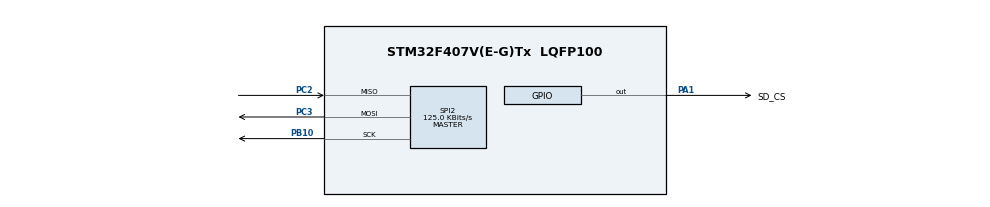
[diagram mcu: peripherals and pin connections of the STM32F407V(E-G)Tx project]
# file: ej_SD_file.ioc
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Mcu.Family=STM32F4
Mcu.Name=STM32F407V(E-G)Tx
Mcu.Package=LQFP100
NVIC.PriorityGroup=NVIC_PRIORITYGROUP_4
PA1.GPIO_Label=SD_CS
PA1.Signal=GPIO_Output
PB10.Mode=Full_Duplex_Master
PB10.Signal=SPI2_SCK
PC2.Mode=Full_Duplex_Master
PC2.Signal=SPI2_MISO
PC3.Mode=Full_Duplex_Master
PC3.Signal=SPI2_MOSI
ProjectManager.HeapSize=0x200
ProjectManager.StackSize=0x400
ProjectManager.TargetToolchain=SW4STM32
RCC.AHBFreq_Value=16000000
RCC.APB1Freq_Value=16000000
RCC.APB2Freq_Value=16000000
RCC.CortexFreq_Value=16000000
RCC.HSE_VALUE=25000000
RCC.HSI_VALUE=16000000
RCC.LSE_VALUE=32768
RCC.SYSCLKFreq_VALUE=16000000
RCC.VCOOutputFreq_Value=192000000
SPI2.BaudRatePrescaler=SPI_BAUDRATEPRESCALER_128
SPI2.CalculateBaudRate=125.0 KBits/s
SPI2.Direction=SPI_DIRECTION_2LINES
SPI2.Mode=SPI_MODE_MASTER
SPI2.VirtualType=VM_MASTER
VP_FATFS_VS_Generic.Mode=User_defined
board=custom

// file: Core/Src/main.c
/* USER CODE BEGIN Header */
/**
  ******************************************************************************
  * @file           : main.c
  * @brief          : Main program body
  ******************************************************************************
  * @attention
  *
  * <h2><center>&copy; Copyright (c) 2021 STMicroelectronics.
  * All rights reserved.</center></h2>
  *
  * This software component is licensed by ST under Ultimate Liberty license
  * SLA0044, the "License"; You may not use this file except in compliance with
  * the License. You may obtain a copy of the License at:
  *                             www.st.com/SLA0044
  *
  ******************************************************************************
  */
/* USER CODE END Header */
#include "main.h"
#include "fatfs.h"

SPI_HandleTypeDef hspi2;
//I2S_HandleTypeDef hi2s3;
/* USER CODE BEGIN PV */
struct header
{
    char fileformat[4];
    int file_size;
    char subformat[4];
    char subformat_id[4];
    int chunk_bits;     					// 16or18or40 due to pcm it is 16 here
    short int audio_format;    					// little or big endian
    short int num_channels;     				// 2 here for left and right
    int sample_rate;						// sample_rate denotes the sampling rate.
    int byte_rate;           					// bytes  per second
    short int bytes_per_frame;
    short int bits_per_sample;
    char data_id[4];    					// "data" written in ascii
    int data_size;
}head;

/* USER CODE END PV */

void SystemClock_Config(void);
static void MX_GPIO_Init(void);
static void MX_SPI2_Init(void);

int main(void)
{

  /* MCU Configuration--------------------------------------------------------*/

  /* Reset of all peripherals, Initializes the Flash interface and the Systick. */
  HAL_Init();

  /* Configure the system clock */
  SystemClock_Config();

  /* Initialize all configured peripherals */
  MX_GPIO_Init();
  MX_SPI2_Init();
  MX_FATFS_Init();
  /* USER CODE BEGIN 2 */
  UINT a,i=0,j=0,k=0;
 int16_t data;
 char read[4];
  /* USER CODE END 2 */

  /* Infinite loop */
  /* USER CODE BEGIN WHILE */
 // myprintf("\r\n~ SD card demo by kiwih ~\r\n\r\n");

    HAL_Delay(1000); //a short delay is important to let the SD card settle

    //some variables for FatFs
    FATFS FatFs; 	//Fatfs handle
    FIL fil; 		//File handle
    FRESULT fres; //Result after operations

    //Open the file system
    fres = f_mount(&FatFs, "", 1); //1=mount now
    if (fres != FR_OK) {
  //	myprintf("f_mount error (%i)\r\n", fres);
  	while(1);
    }

    //Let's get some statistics from the SD card
    DWORD free_clusters, free_sectors, total_sectors;

    FATFS* getFreeFs;

    fres = f_getfree("", &free_clusters, &getFreeFs);
    if (fres != FR_OK) {
  	//myprintf("f_getfree error (%i)\r\n", fres);
  	while(1);
    }

    //Formula comes from ChaN's documentation
    total_sectors = (getFreeFs->n_fatent - 2) * getFreeFs->csize;
    free_sectors = free_clusters * getFreeFs->csize;

    //myprintf("SD card stats:\r\n%10lu KiB total drive space.\r\n%10lu KiB available.\r\n", total_sectors / 2, free_sectors / 2);

    //Now let's try to open file "test.txt"
    fres = f_open(&fil, "abre.wav", FA_READ);
    if (fres != FR_OK) {
  	//myprintf("f_open error (%i)\r\n");
  	while(1);
    }
    f_read(&fil,&head,sizeof head,&a);
    	if (fres != FR_OK) {return 1;}
    	if(head.data_id[0]!='d') {return 1;}
    	while(read[0]!='d'){
    		f_read(&fil,read,sizeof read,&a);
    	}
    	while(i < head.file_size){
    		//if(i!=j){
    			f_read(&fil,&data,sizeof data,&a);
    			//TIM_SetCompare2(TIM2,data/66);
    			i++;
    			//Toggle_Gpio(GPIOC,15);

    	}
    //myprintf("I was able to open 'test.txt' for reading!\r\n");

    //Read 30 bytes from "test.txt" on the SD card
    //BYTE readBuf[30];

    //We can either use f_read OR f_gets to get data out of files
    //f_gets is a wrapper on f_read that does some string formatting for us
    //TCHAR* rres = f_gets((TCHAR*)readBuf, 30, &fil);
    /*if(rres != 0) {
  	//myprintf("Read string from 'test.txt' contents: %s\r\n", readBuf);
    } else {
  	//myprintf("f_gets error (%i)\r\n", fres);
    }*/

    //Be a tidy kiwi - don't forget to close your file!
    f_close(&fil);
/*
    //Now let's try and write a file "write.txt"
    fres = f_open(&fil, "write.txt", FA_WRITE | FA_OPEN_ALWAYS | FA_CREATE_ALWAYS);
    if(fres == FR_OK) {
  	//myprintf("I was able to open 'write.txt' for writing\r\n");
    } else {
  	//myprintf("f_open error (%i)\r\n", fres);
    }

    //Copy in a string
    strncpy((char*)readBuf, "a new file is made!", 19);
    UINT bytesWrote;
    fres = f_write(&fil, readBuf, 19, &bytesWrote);
    if(fres == FR_OK) {
  	//myprintf("Wrote %i bytes to 'write.txt'!\r\n", bytesWrote);
    } else {
  	//myprintf("f_write error (%i)\r\n");
    }

    //Be a tidy kiwi - don't forget to close your file!
    f_close(&fil);*/

    //We're done, so de-mount the drive
    f_mount(NULL, "", 0);

    /* USER CODE END 2 */

    /* Infinite loop */
    /* USER CODE BEGIN WHILE */
    while (1)
    {
      /* USER CODE END WHILE */

      /* USER CODE BEGIN 3 */
        //Blink the LED every second
  	  //HAL_GPIO_TogglePin(LD2_GPIO_Port, LD2_Pin);
  	  //HAL_Delay(1000);
    }
  /* USER CODE END 3 */
}

void SystemClock_Config(void)
{
	/*
  RCC_OscInitTypeDef RCC_OscInitStruct = {0};
  RCC_ClkInitTypeDef RCC_ClkInitStruct = {0};
*/
  /** Configure the main internal regulator output voltage
  */
  //__HAL_RCC_PWR_CLK_ENABLE();
  //__HAL_PWR_VOLTAGESCALING_CONFIG(PWR_REGULATOR_VOLTAGE_SCALE1);
  /** Initializes the RCC Oscillators according to the specified parameters
  * in the RCC_OscInitTypeDef structure.
  */
  /*
  RCC_OscInitStruct.OscillatorType = RCC_OSCILLATORTYPE_HSI;
  RCC_OscInitStruct.HSIState = RCC_HSI_ON;
  RCC_OscInitStruct.HSICalibrationValue = RCC_HSICALIBRATION_DEFAULT;
  RCC_OscInitStruct.PLL.PLLState = RCC_PLL_NONE;
  if (HAL_RCC_OscConfig(&RCC_OscInitStruct) != HAL_OK)
  {
    Error_Handler();
  }*/
  /** Initializes the CPU, AHB and APB buses clocks
  */
  /*
  RCC_ClkInitStruct.ClockType = RCC_CLOCKTYPE_HCLK|RCC_CLOCKTYPE_SYSCLK
                              |RCC_CLOCKTYPE_PCLK1|RCC_CLOCKTYPE_PCLK2;
  RCC_ClkInitStruct.SYSCLKSource = RCC_SYSCLKSOURCE_HSI;
  RCC_ClkInitStruct.AHBCLKDivider = RCC_SYSCLK_DIV1;
  RCC_ClkInitStruct.APB1CLKDivider = RCC_HCLK_DIV1;
  RCC_ClkInitStruct.APB2CLKDivider = RCC_HCLK_DIV1;

  if (HAL_RCC_ClockConfig(&RCC_ClkInitStruct, FLASH_LATENCY_0) != HAL_OK)
  {
    Error_Handler();
  }*/
	 RCC_OscInitTypeDef RCC_OscInitStruct = {0};
	  RCC_ClkInitTypeDef RCC_ClkInitStruct = {0};
	  RCC_PeriphCLKInitTypeDef PeriphClkInitStruct = {0};

	  /** Macro to configure the PLL multiplication factor
	  */
	  __HAL_RCC_PLL_PLLM_CONFIG(8);
	  /** Macro to configure the PLL clock source
	  */
	  __HAL_RCC_PLL_PLLSOURCE_CONFIG(RCC_PLLSOURCE_HSE);
	  /** Configure the main internal regulator output voltage
	  */
	  __HAL_RCC_PWR_CLK_ENABLE();
	  __HAL_PWR_VOLTAGESCALING_CONFIG(PWR_REGULATOR_VOLTAGE_SCALE1);
	  /** Initializes the RCC Oscillators according to the specified parameters
	  * in the RCC_OscInitTypeDef structure.
	  */
	  RCC_OscInitStruct.OscillatorType = RCC_OSCILLATORTYPE_HSE;
	  RCC_OscInitStruct.HSEState = RCC_HSE_ON;
	  //RCC_OscInitStruct.HSECalibrationValue = RCC_HSICALIBRATION_DEFAULT;
	  RCC_OscInitStruct.PLL.PLLState = RCC_PLL_NONE;
	  RCC_OscInitStruct.PLL.PLLSource = RCC_PLLSOURCE_HSE;
	  if (HAL_RCC_OscConfig(&RCC_OscInitStruct) != HAL_OK)
	  {
	    Error_Handler();
	  }
	  /** Initializes the CPU, AHB and APB buses clocks
	  */
	  RCC_ClkInitStruct.ClockType = RCC_CLOCKTYPE_HCLK|RCC_CLOCKTYPE_SYSCLK
	                              |RCC_CLOCKTYPE_PCLK1|RCC_CLOCKTYPE_PCLK2;
	  RCC_ClkInitStruct.SYSCLKSource = RCC_SYSCLKSOURCE_HSE;
	  RCC_ClkInitStruct.AHBCLKDivider = RCC_SYSCLK_DIV1;
	  RCC_ClkInitStruct.APB1CLKDivider = RCC_HCLK_DIV1;
	  RCC_ClkInitStruct.APB2CLKDivider = RCC_HCLK_DIV1;

	  if (HAL_RCC_ClockConfig(&RCC_ClkInitStruct, FLASH_LATENCY_0) != HAL_OK)
	  {
	    Error_Handler();
	  }
	  PeriphClkInitStruct.PeriphClockSelection = RCC_PERIPHCLK_I2S;
	  PeriphClkInitStruct.PLLI2S.PLLI2SN = 192;
	  PeriphClkInitStruct.PLLI2S.PLLI2SR = 2;
	  if (HAL_RCCEx_PeriphCLKConfig(&PeriphClkInitStruct) != HAL_OK)
	  {
	    Error_Handler();
	  }
}

static void MX_SPI2_Init(void)
{

  /* SPI2 parameter configuration*/
  hspi2.Instance = SPI2;
  hspi2.Init.Mode = SPI_MODE_MASTER;
  hspi2.Init.Direction = SPI_DIRECTION_2LINES;
  hspi2.Init.DataSize = SPI_DATASIZE_8BIT;
  hspi2.Init.CLKPolarity = SPI_POLARITY_LOW;
  hspi2.Init.CLKPhase = SPI_PHASE_1EDGE;
  hspi2.Init.NSS = SPI_NSS_SOFT;
  hspi2.Init.BaudRatePrescaler = SPI_BAUDRATEPRESCALER_128;
  hspi2.Init.FirstBit = SPI_FIRSTBIT_MSB;
  hspi2.Init.TIMode = SPI_TIMODE_DISABLE;
  hspi2.Init.CRCCalculation = SPI_CRCCALCULATION_DISABLE;
  hspi2.Init.CRCPolynomial = 10;
  if (HAL_SPI_Init(&hspi2) != HAL_OK)
  {
    Error_Handler();
  }

}

static void MX_GPIO_Init(void)
{
  GPIO_InitTypeDef GPIO_InitStruct = {0};

  /* GPIO Ports Clock Enable */
  __HAL_RCC_GPIOC_CLK_ENABLE();
  __HAL_RCC_GPIOA_CLK_ENABLE();
  __HAL_RCC_GPIOB_CLK_ENABLE();

  /*Configure GPIO pin Output Level */
  HAL_GPIO_WritePin(SD_CS_GPIO_Port, SD_CS_Pin, GPIO_PIN_RESET);

  /*Configure GPIO pin : SD_CS_Pin */
  GPIO_InitStruct.Pin = SD_CS_Pin;
  GPIO_InitStruct.Mode = GPIO_MODE_OUTPUT_PP;
  GPIO_InitStruct.Pull = GPIO_NOPULL;
  GPIO_InitStruct.Speed = GPIO_SPEED_FREQ_LOW;
  HAL_GPIO_Init(SD_CS_GPIO_Port, &GPIO_InitStruct);

}

void Error_Handler(void)
{
  __disable_irq();
  while (1)
  {
  }
}

/************************ (C) COPYRIGHT STMicroelectronics *****END OF FILE****/
